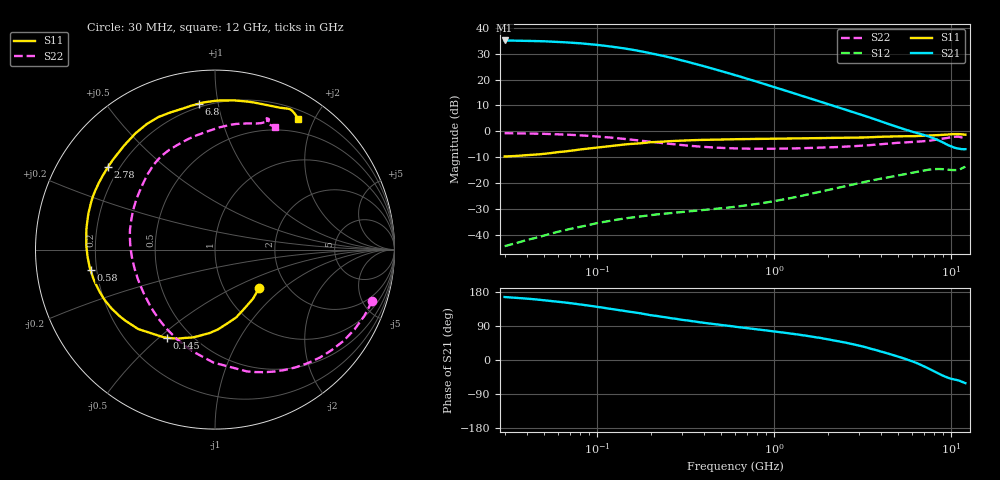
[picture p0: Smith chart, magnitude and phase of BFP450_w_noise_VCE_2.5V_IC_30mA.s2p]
! Infineon Technologies  Discrete & RF Semiconductors
! BFP450
! VCE =  2.5 V,  IC =  30 mA
! Common Emitter S-Parameters:  Nov 2015
# GHz  S  MA  R  50
!  f  S11  S21  S12  S22
! GHz  MAG  ANG  MAG  ANG  MAG  ANG  MAG  ANG
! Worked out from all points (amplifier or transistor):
!   239 points, 30 MHz to 12 GHz, reference 50 ohm
!   highest |S21| = 35.2 dB at 30 MHz (marker M1)
!   |S21| within 3 dB of that: start of sweep to 139.6 MHz
!   unconditionally stable (mu >= 1): 1.412 GHz to end of sweep
!   at 300 MHz: K = 0.40, MSG = 29.3 dB, |S12| = -31.2 dB
!   at 1.88 GHz: K = 1.07, MAG = 15.5 dB, |S12| = -23.2 dB
!   at 12 GHz: K = 1.10, MAG = 1.5 dB, |S12| = -13.7 dB
!   lowest NFmin = 1.27 dB at 450 MHz
!   S11 on the Smith chart (normalised r, x): 30 MHz: 1.45, -0.70; 145 MHz: 0.37, -0.53; 580 MHz: 0.18, -0.08; 2.78 GHz: 0.16, +0.34; 6.8 GHz: 0.18, +0.88; 12 GHz: 0.31, +1.78
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0.03  0.3256 -41.1  57.3 166.2  0.006 80.2  0.9215 -18.1
0.04  0.3461 -52.3  56.34 162.0  0.0079 75.7  0.9103 -24.0
0.05  0.3668 -63.4  55.25 157.7  0.0096 73.4  0.8955 -29.8
0.06  0.3957 -72.6  53.73 154.0  0.0114 68.9  0.8783 -35.4
0.07  0.4186 -81.0  52.1 150.0  0.0129 66.0  0.8579 -40.8
0.085  0.4553 -91.0  49.58 145.1  0.0148 62.7  0.8269 -48.3
0.11  0.5047 -104.2  45.33 137.4  0.0178 57.6  0.7757 -59.8
0.145  0.559 -118.6  39.74 128.7  0.0207 51.6  0.7097 -73.5
0.2  0.6154 -134.0  32.39 118.2  0.024 45.8  0.6295 -90.8
0.24  0.6368 -141.4  28.41 113.0  0.0255 43.4  0.5867 -100.4
0.3  0.6632 -150.3  23.57 106.1  0.0274 41.2  0.5429 -112.9
0.36  0.6778 -156.5  20.08 101.2  0.029 40.3  0.5139 -122.4
0.45  0.6911 -163.6  16.25 95.0  0.0312 40.1  0.4876 -133.8
0.58  0.7028 -170.6  12.69 88.9  0.0341 41.1  0.4689 -145.4
0.6  0.7048 -171.6  12.21 87.8  0.0346 41.3  0.4675 -147.1
0.8  0.7137 -179.2  9.065 80.8  0.0394 43.1  0.46 -159.2
1  0.7201 175.1  7.144 75.3  0.0446 44.5  0.4608 -167.8
1.64  0.7362 161.4  4.199 61.7  0.0626 44.9  0.4774 173.2
2.78  0.7533 142.1  2.359 41.6  0.0939 37.3  0.5152 149.8
4.5  0.7963 118.5  1.354 15.4  0.1307 21.1  0.5841 125.7
6.8  0.8179 96.4  0.876 -13.8  0.172 -0.6  0.6396 101.0
12  0.8623 57.6  0.452 -61.1  0.2067 -40.6  0.7614 64.1
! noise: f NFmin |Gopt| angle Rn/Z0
0.45  1.27  0.43  -175  0.06
0.9  1.34  0.47  -172  0.06
1.9  1.45  0.53  -157  0.08
2.4  1.58  0.55  -148  0.1
